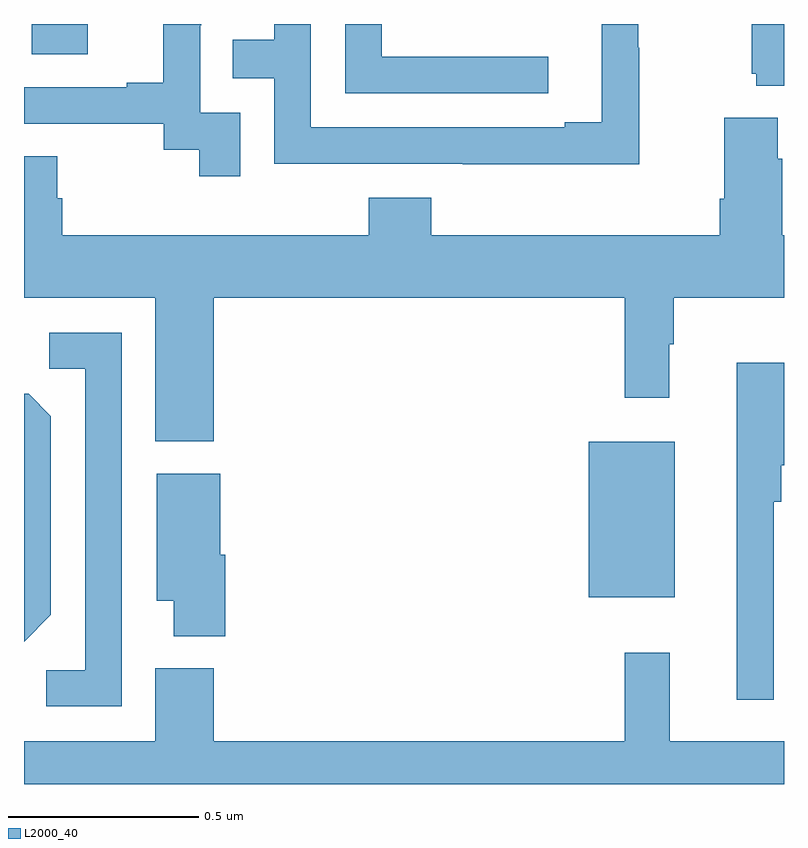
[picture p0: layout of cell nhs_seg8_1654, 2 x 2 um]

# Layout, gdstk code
import gdstk
lib = gdstk.Library(unit=1e-6, precision=1e-09)
def R(c, l, rs):  # rectangles x0, y0, x1, y1
    for r in rs: c.add(gdstk.rectangle(r[:2], r[2:], *l))
def P(c, l, *ps):  # polygons
    for p in ps: c.add(gdstk.Polygon(p, *l))
L2000_40 = (2000, 40)

nhs_seg8_1654 = lib.new_cell('nhs_seg8_1654')
R(nhs_seg8_1654, L2000_40, [(134.486,1102.391,134.713,1102.801), (133.02,1103.82,133.168,1103.9)])
P(nhs_seg8_1654, L2000_40, [(134.38,1103.814),(133.941,1103.814),(133.941,1103.9),(133.845,1103.9),(133.845,1103.718),(134.38,1103.718)],
  [(135,1103.9),(134.915,1103.9),(134.915,1103.769),(134.927,1103.769),(134.927,1103.738),(135,1103.738)],
  [(133.569,1103.667),(133.464,1103.667),(133.464,1103.897),(133.466,1103.897),(133.466,1103.9),(133.367,1103.9),(133.367,1103.746),(133.271,1103.746),(133.271,1103.733),(133,1103.733),(133,1103.637),(133.368,1103.637),(133.368,1103.569),(133.461,1103.569),(133.461,1103.499),(133.569,1103.499)],
  [(134.619,1103.837),(134.616,1103.837),(134.616,1103.9),(134.52,1103.9),(134.52,1103.641),(134.423,1103.641),(134.423,1103.628),(133.755,1103.628),(133.755,1103.9),(133.659,1103.9),(133.659,1103.858),(133.549,1103.858),(133.549,1103.757),(133.659,1103.757),(133.659,1103.532),(134.155,1103.532),(134.155,1103.531),(134.619,1103.531)],
  [(133.499,1103.18),(134.581,1103.18),(134.581,1102.917),(134.698,1102.917),(134.698,1103.057),(134.71,1103.057),(134.71,1103.18),(135,1103.18),(135,1103.344),(134.996,1103.344),(134.996,1103.546),(134.983,1103.546),(134.983,1103.653),(134.843,1103.653),(134.843,1103.44),(134.831,1103.44),(134.831,1103.344),(134.072,1103.344),(134.072,1103.443),(133.907,1103.443),(133.907,1103.344),(133.1,1103.344),(133.1,1103.442),(133.087,1103.442),(133.087,1103.552),(133,1103.552),(133,1103.18),(133.346,1103.18),(133.346,1102.802),(133.499,1102.802)],
  [(133.257,1103.088),(133.066,1103.088),(133.066,1102.993),(133.161,1102.993),(133.161,1102.2),(133.059,1102.2),(133.059,1102.104),(133.257,1102.104)],
  [(134.973,1102.643),(134.993,1102.643),(134.993,1102.739),(135,1102.739),(135,1103.008),(134.876,1103.008),(134.876,1102.122),(134.973,1102.122)],
  [(133.071,1102.346),(133.071,1102.868),(133.012,1102.927),(133,1102.927),(133,1102.274)],
  [(133.529,1102.503),(133.516,1102.503),(133.516,1102.717),(133.349,1102.717),(133.349,1102.382),(133.394,1102.382),(133.394,1102.289),(133.529,1102.289)],
  [(135,1102.012),(134.699,1102.012),(134.699,1102.246),(134.581,1102.246),(134.581,1102.012),(133.499,1102.012),(133.499,1102.204),(133.346,1102.204),(133.346,1102.012),(133,1102.012),(133,1101.9),(135,1101.9)])

lib.write_gds('nhs_seg8_1654.gds')
